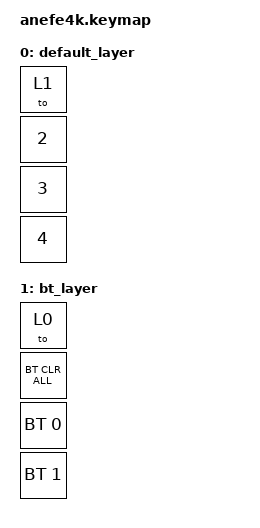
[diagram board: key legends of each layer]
#include <behaviors.dtsi>
#include <dt-bindings/zmk/keys.h>
#include <dt-bindings/zmk/bt.h>

/ {
    keymap {
        compatible = "zmk,keymap";

        default_layer {

            bindings = <
                &to 1
                &kp N2
                &kp N3
                &kp N4
            >;

        };

        bt_layer {
            bindings = <
                &to 0
                &bt BT_CLR_ALL
                &bt BT_SEL 0
                &bt BT_SEL 1
            >;
        };

    };
};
